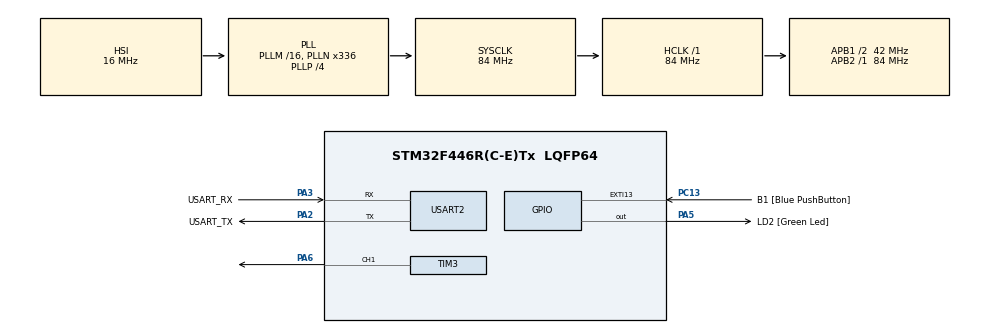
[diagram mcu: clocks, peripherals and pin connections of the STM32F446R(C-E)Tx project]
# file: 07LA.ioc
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Mcu.Family=STM32F4
Mcu.Name=STM32F446R(C-E)Tx
Mcu.Package=LQFP64
NVIC.EXTI15_10_IRQn=true\:0\:0\:false\:false\:true\:true\:true\:true
NVIC.PriorityGroup=NVIC_PRIORITYGROUP_0
NVIC.USART2_IRQn=true\:0\:0\:false\:false\:true\:true\:true\:true
PA13.GPIO_Label=TMS
PA13.Signal=SYS_JTMS-SWDIO
PA14.GPIO_Label=TCK
PA14.Signal=SYS_JTCK-SWCLK
PA2.GPIO_Label=USART_TX
PA2.Mode=Asynchronous
PA2.Signal=USART2_TX
PA3.GPIO_Label=USART_RX
PA3.Mode=Asynchronous
PA3.Signal=USART2_RX
PA5.GPIO_Label=LD2 [Green Led]
PA5.Signal=GPIO_Output
PA6.Signal=S_TIM3_CH1
PB3.GPIO_Label=SWO
PB3.Signal=SYS_JTDO-SWO
PC13.GPIO_Label=B1 [Blue PushButton]
PC13.GPIO_ModeDefaultEXTI=GPIO_MODE_IT_FALLING
PC13.Signal=GPXTI13
PC14-OSC32_IN.Signal=RCC_OSC32_IN
PC15-OSC32_OUT.Signal=RCC_OSC32_OUT
PH0-OSC_IN.Signal=RCC_OSC_IN
PH1-OSC_OUT.Signal=RCC_OSC_OUT
ProjectManager.HeapSize=0x200
ProjectManager.StackSize=0x400
ProjectManager.TargetToolchain=STM32CubeIDE
RCC.AHBFreq_Value=84000000
RCC.APB1CLKDivider=RCC_HCLK_DIV2
RCC.APB1Freq_Value=42000000
RCC.APB1TimFreq_Value=84000000
RCC.APB2Freq_Value=84000000
RCC.APB2TimFreq_Value=84000000
RCC.CortexFreq_Value=84000000
RCC.FLatency-AdvancedSettings=FLASH_LATENCY_2
RCC.HCLKFreq_Value=84000000
RCC.HSE_VALUE=8000000
RCC.HSI_VALUE=16000000
RCC.LSE_VALUE=32768
RCC.PLLN=336
RCC.PLLP=RCC_PLLP_DIV4
RCC.SYSCLKFreq_VALUE=84000000
RCC.SYSCLKSource=RCC_SYSCLKSOURCE_PLLCLK
RCC.USBFreq_Value=168000000
RCC.VCOOutputFreq_Value=336000000
SH.S_TIM3_CH1.0=TIM3_CH1,Output Compare1 CH1
TIM3.Channel-Output\ Compare1\ CH1=TIM_CHANNEL_1
TIM3.OCMode_1=TIM_OCMODE_TOGGLE
TIM3.Prescaler=1
USART2.VirtualMode=VM_ASYNC
VP_TIM3_VS_ClockSourceINT.Mode=Internal
board=NUCLEO-F446RE

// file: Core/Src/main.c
/* USER CODE BEGIN Header */
/**
  ******************************************************************************
  * @file           : main.c
  * @brief          : Main program body
  ******************************************************************************
  * @attention
  *
  * Copyright (c) 2025 STMicroelectronics.
  * All rights reserved.
  *
  * This software is licensed under terms that can be found in the LICENSE file
  * in the root directory of this software component.
  * If no LICENSE file comes with this software, it is provided AS-IS.
  *
  ******************************************************************************
  */
/* USER CODE END Header */
#include "main.h"

/* USER CODE BEGIN PM */

#define A4 47726
#define B4 42519
#define C4 40132
#define D4 35755
#define E4 31853
#define F4 30065
#define G4 26785

#define A8 23863
#define B8 21259
#define C8 20066
#define D8 17877
#define E8 15926
#define F8 15032
#define G8 13392

#define MUTE 0
#define END  65535

/* USER CODE END PM */

TIM_HandleTypeDef htim3;

UART_HandleTypeDef huart2;

/* USER CODE BEGIN PV */

uint16_t ui16PlayList[100][2];
uint8_t  ui8NoteIndex = 255; // 255 = nothing is playing, 0 ... 254 = note index
uint16_t ui16NoteTimer;

/* USER CODE END PV */

void SystemClock_Config(void);
static void MX_GPIO_Init(void);
static void MX_TIM3_Init(void);
static void MX_USART2_UART_Init(void);

int main(void)
{

  /* MCU Configuration--------------------------------------------------------*/

  /* Reset of all peripherals, Initializes the Flash interface and the Systick. */
  HAL_Init();

  /* Configure the system clock */
  SystemClock_Config();

  /* Initialize all configured peripherals */
  MX_GPIO_Init();
  MX_TIM3_Init();
  MX_USART2_UART_Init();
  /* USER CODE BEGIN 2 */

  HAL_TIM_OC_Start(&htim3, TIM_CHANNEL_1);

  InitPlaylist();
  ui8NoteIndex = 0;

  /* USER CODE END 2 */

  /* Infinite loop */
  /* USER CODE BEGIN WHILE */
  while (1)
  {
	  PlaySound();
    /* USER CODE END WHILE */

  }
}

void SystemClock_Config(void)
{
  RCC_OscInitTypeDef RCC_OscInitStruct = {0};
  RCC_ClkInitTypeDef RCC_ClkInitStruct = {0};

  /** Configure the main internal regulator output voltage
  */
  __HAL_RCC_PWR_CLK_ENABLE();
  __HAL_PWR_VOLTAGESCALING_CONFIG(PWR_REGULATOR_VOLTAGE_SCALE3);

  /** Initializes the RCC Oscillators according to the specified parameters
  * in the RCC_OscInitTypeDef structure.
  */
  RCC_OscInitStruct.OscillatorType = RCC_OSCILLATORTYPE_HSI;
  RCC_OscInitStruct.HSIState = RCC_HSI_ON;
  RCC_OscInitStruct.HSICalibrationValue = RCC_HSICALIBRATION_DEFAULT;
  RCC_OscInitStruct.PLL.PLLState = RCC_PLL_ON;
  RCC_OscInitStruct.PLL.PLLSource = RCC_PLLSOURCE_HSI;
  RCC_OscInitStruct.PLL.PLLM = 16;
  RCC_OscInitStruct.PLL.PLLN = 336;
  RCC_OscInitStruct.PLL.PLLP = RCC_PLLP_DIV4;
  RCC_OscInitStruct.PLL.PLLQ = 2;
  RCC_OscInitStruct.PLL.PLLR = 2;
  if (HAL_RCC_OscConfig(&RCC_OscInitStruct) != HAL_OK)
  {
    Error_Handler();
  }

  /** Initializes the CPU, AHB and APB buses clocks
  */
  RCC_ClkInitStruct.ClockType = RCC_CLOCKTYPE_HCLK|RCC_CLOCKTYPE_SYSCLK
                              |RCC_CLOCKTYPE_PCLK1|RCC_CLOCKTYPE_PCLK2;
  RCC_ClkInitStruct.SYSCLKSource = RCC_SYSCLKSOURCE_PLLCLK;
  RCC_ClkInitStruct.AHBCLKDivider = RCC_SYSCLK_DIV1;
  RCC_ClkInitStruct.APB1CLKDivider = RCC_HCLK_DIV2;
  RCC_ClkInitStruct.APB2CLKDivider = RCC_HCLK_DIV1;

  if (HAL_RCC_ClockConfig(&RCC_ClkInitStruct, FLASH_LATENCY_2) != HAL_OK)
  {
    Error_Handler();
  }
}

static void MX_TIM3_Init(void)
{

  TIM_ClockConfigTypeDef sClockSourceConfig = {0};
  TIM_MasterConfigTypeDef sMasterConfig = {0};
  TIM_OC_InitTypeDef sConfigOC = {0};

  htim3.Instance = TIM3;
  htim3.Init.Prescaler = 1;
  htim3.Init.CounterMode = TIM_COUNTERMODE_UP;
  htim3.Init.Period = 65535;
  htim3.Init.ClockDivision = TIM_CLOCKDIVISION_DIV1;
  htim3.Init.AutoReloadPreload = TIM_AUTORELOAD_PRELOAD_DISABLE;
  if (HAL_TIM_Base_Init(&htim3) != HAL_OK)
  {
    Error_Handler();
  }
  sClockSourceConfig.ClockSource = TIM_CLOCKSOURCE_INTERNAL;
  if (HAL_TIM_ConfigClockSource(&htim3, &sClockSourceConfig) != HAL_OK)
  {
    Error_Handler();
  }
  if (HAL_TIM_OC_Init(&htim3) != HAL_OK)
  {
    Error_Handler();
  }
  sMasterConfig.MasterOutputTrigger = TIM_TRGO_RESET;
  sMasterConfig.MasterSlaveMode = TIM_MASTERSLAVEMODE_DISABLE;
  if (HAL_TIMEx_MasterConfigSynchronization(&htim3, &sMasterConfig) != HAL_OK)
  {
    Error_Handler();
  }
  sConfigOC.OCMode = TIM_OCMODE_TOGGLE;
  sConfigOC.Pulse = 0;
  sConfigOC.OCPolarity = TIM_OCPOLARITY_HIGH;
  sConfigOC.OCFastMode = TIM_OCFAST_DISABLE;
  if (HAL_TIM_OC_ConfigChannel(&htim3, &sConfigOC, TIM_CHANNEL_1) != HAL_OK)
  {
    Error_Handler();
  }
  HAL_TIM_MspPostInit(&htim3);

}

static void MX_USART2_UART_Init(void)
{

  huart2.Instance = USART2;
  huart2.Init.BaudRate = 115200;
  huart2.Init.WordLength = UART_WORDLENGTH_8B;
  huart2.Init.StopBits = UART_STOPBITS_1;
  huart2.Init.Parity = UART_PARITY_NONE;
  huart2.Init.Mode = UART_MODE_TX_RX;
  huart2.Init.HwFlowCtl = UART_HWCONTROL_NONE;
  huart2.Init.OverSampling = UART_OVERSAMPLING_16;
  if (HAL_UART_Init(&huart2) != HAL_OK)
  {
    Error_Handler();
  }

}

static void MX_GPIO_Init(void)
{
  GPIO_InitTypeDef GPIO_InitStruct = {0};

  /* GPIO Ports Clock Enable */
  __HAL_RCC_GPIOC_CLK_ENABLE();
  __HAL_RCC_GPIOH_CLK_ENABLE();
  __HAL_RCC_GPIOA_CLK_ENABLE();
  __HAL_RCC_GPIOB_CLK_ENABLE();

  /*Configure GPIO pin Output Level */
  HAL_GPIO_WritePin(LD2_GPIO_Port, LD2_Pin, GPIO_PIN_RESET);

  /*Configure GPIO pin : B1_Pin */
  GPIO_InitStruct.Pin = B1_Pin;
  GPIO_InitStruct.Mode = GPIO_MODE_IT_FALLING;
  GPIO_InitStruct.Pull = GPIO_NOPULL;
  HAL_GPIO_Init(B1_GPIO_Port, &GPIO_InitStruct);

  /*Configure GPIO pin : LD2_Pin */
  GPIO_InitStruct.Pin = LD2_Pin;
  GPIO_InitStruct.Mode = GPIO_MODE_OUTPUT_PP;
  GPIO_InitStruct.Pull = GPIO_NOPULL;
  GPIO_InitStruct.Speed = GPIO_SPEED_FREQ_LOW;
  HAL_GPIO_Init(LD2_GPIO_Port, &GPIO_InitStruct);

  /* EXTI interrupt init*/
  HAL_NVIC_SetPriority(EXTI15_10_IRQn, 0, 0);
  HAL_NVIC_EnableIRQ(EXTI15_10_IRQn);

}

/* USER CODE BEGIN 4 */
void InitPlaylist(void)
{
	//ui16PlayList[x][0] => ARR -> Fout
	//ui16PlayList[x][1] => Time [ms]

	ui16PlayList[0][0] = A4;
	ui16PlayList[0][1] = 200;

	ui16PlayList[1][0] = B4;
	ui16PlayList[1][1] = 200;

	ui16PlayList[2][0] = C4;
	ui16PlayList[2][1] = 200;

	ui16PlayList[3][0] = D4;
	ui16PlayList[3][1] = 200;

	ui16PlayList[4][0] = E4;
	ui16PlayList[4][1] = 200;

	ui16PlayList[5][0] = F4;
	ui16PlayList[5][1] = 200;

	ui16PlayList[6][0] = G4;
	ui16PlayList[6][1] = 200;

	ui16PlayList[7][0] = MUTE;
	ui16PlayList[7][1] = 800;

	ui16PlayList[8][0] = G4;
	ui16PlayList[8][1] = 200;

	ui16PlayList[9][0] = F4;
	ui16PlayList[9][1] = 200;

	ui16PlayList[10][0] = E4;
	ui16PlayList[10][1] = 200;

	ui16PlayList[11][0] = D4;
	ui16PlayList[11][1] = 200;

	ui16PlayList[12][0] = C4;
	ui16PlayList[12][1] = 200;

	ui16PlayList[13][0] = B4;
	ui16PlayList[13][1] = 200;

	ui16PlayList[14][0] = A4;
	ui16PlayList[14][1] = 200;

	ui16PlayList[15][0] = END;
	ui16PlayList[15][1] = 0;

	return;
}

void PlaySound(void)
{
	if(ui8NoteIndex != 255)
	{	// playing
		if(!ui16NoteTimer)
		{
			if(ui16PlayList[ui8NoteIndex][0] == END)
			{
				// Set ARR for NULL
				__HAL_TIM_SET_AUTORELOAD(&htim3,0);
				ui8NoteIndex = 255;
				return;
			}
			else
			{
				// Set ARR for the next note
				__HAL_TIM_SET_AUTORELOAD(&htim3,ui16PlayList[ui8NoteIndex][0]);
				ui16NoteTimer = ui16PlayList[ui8NoteIndex][1];	// next note duration
			}
			// NEXT Note
			ui8NoteIndex ++;
		}

	}
	return;
}

void PlayTimer1KHZ(void)
{
	if(ui16NoteTimer) ui16NoteTimer --;
	return;
}

/* USER CODE END 4 */

void Error_Handler(void)
{
  __disable_irq();
  while (1)
  {
  }
}
